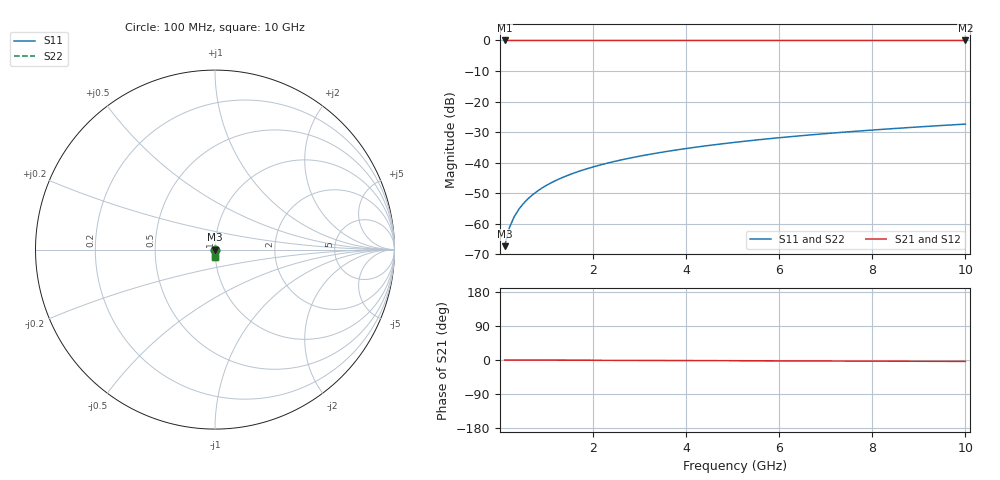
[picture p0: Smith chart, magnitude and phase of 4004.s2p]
# Hz S RI R 50.00
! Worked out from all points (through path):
!   100 points, 100 MHz to 10 GHz, reference 50 ohm
!   highest |S21| = 0.00 dB at 100 MHz (marker M1); lowest = 0.0 dB at 10 GHz (marker M2)
!   lowest |S11| = -67.4 dB at 100 MHz (marker M3), VSWR 1.00, Z = 50 - j0.0424 ohm
!   |S11| at or under -10 dB: start of sweep to end of sweep
!   |S22| runs from -67.4 to -27.4 dB; largest |S21 - S12| = 0
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1e8  5.71e-05 -0.000424  0.9999 -0.000649  0.9999 -0.000649  5.71e-05 -0.000424
2e8  5.61e-05 -0.000847  0.9999 -0.0013  0.9999 -0.0013  5.61e-05 -0.000847
3e8  5.45e-05 -0.00127  0.9999 -0.00195  0.9999 -0.00195  5.45e-05 -0.00127
4e8  5.23e-05 -0.00169  0.9999 -0.0026  0.9999 -0.0026  5.23e-05 -0.00169
5e8  4.95e-05 -0.00212  0.9999 -0.00325  0.9999 -0.00325  4.95e-05 -0.00212
6e8  4.62e-05 -0.00254  0.9999 -0.0039  0.9999 -0.0039  4.62e-05 -0.00254
7e8  4.23e-05 -0.00297  0.9999 -0.00455  0.9999 -0.00455  4.23e-05 -0.00297
8e8  3.78e-05 -0.00339  0.9999 -0.0052  0.9999 -0.0052  3.78e-05 -0.00339
9e8  3.27e-05 -0.00381  0.9999 -0.00585  0.9999 -0.00585  3.27e-05 -0.00381
1.1e9  2.09e-05 -0.00466  0.9999 -0.00714  0.9999 -0.00714  2.09e-05 -0.00466
1.4e9  -9.19e-07 -0.00593  0.9999 -0.00909  0.9999 -0.00909  -9.19e-07 -0.00593
1.8e9  -3.78e-05 -0.00763  0.9998 -0.0117  0.9998 -0.0117  -3.78e-05 -0.00763
2.1e9  -7.14e-05 -0.0089  0.9998 -0.0136  0.9998 -0.0136  -7.14e-05 -0.0089
2.5e9  -0.000124 -0.0106  0.9997 -0.0162  0.9997 -0.0162  -0.000124 -0.0106
2.9e9  -0.000185 -0.0123  0.9997 -0.0189  0.9997 -0.0189  -0.000185 -0.0123
3.4e9  -0.000274 -0.0144  0.9996 -0.0221  0.9996 -0.0221  -0.000274 -0.0144
4.2e9  -0.000446 -0.0178  0.9994 -0.0273  0.9994 -0.0273  -0.000446 -0.0178
5.1e9  -0.000683 -0.0217  0.9991 -0.0332  0.9991 -0.0332  -0.000683 -0.0217
5.9e9  -0.000931 -0.0251  0.9988 -0.0384  0.9988 -0.0384  -0.000931 -0.0251
6.7e9  -0.00122 -0.0285  0.9985 -0.0437  0.9985 -0.0437  -0.00122 -0.0285
8.4e9  -0.00194 -0.0357  0.9977 -0.0548  0.9977 -0.0548  -0.00194 -0.0357
1e10  -0.00277 -0.0426  0.9968 -0.0653  0.9968 -0.0653  -0.00277 -0.0426
